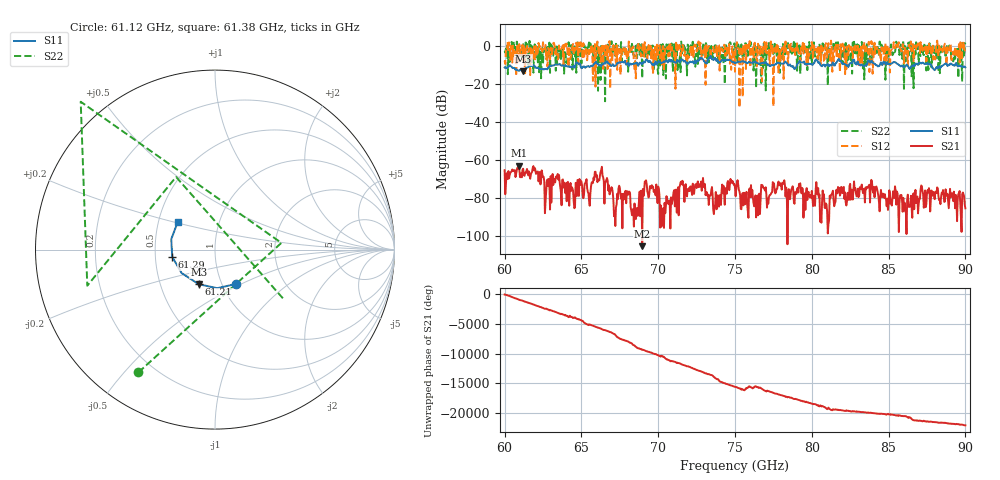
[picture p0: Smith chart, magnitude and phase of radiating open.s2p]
!Created with skrf (http://scikit-rf.org).
# GHz S RI R 50.0
!freq ReS11 ImS11 ReS21 ImS21 ReS12 ImS12 ReS22 ImS22
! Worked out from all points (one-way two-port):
!   721 points, 60 GHz to 90 GHz, reference 50 ohm
!   highest |S21| = -63.04 dB at 60.92 GHz (marker M1); lowest = -105.5 dB at 68.96 GHz (marker M2)
!   lowest |S11| = -13.4 dB at 61.21 GHz (marker M3), VSWR 1.54, Z = 38.9 - j15.7 ohm
!   |S11| at or under -10 dB: start of sweep to 63.27 GHz; 63.65 GHz to 64.61 GHz (962.8 MHz wide, 1.5 % of centre); 64.92 GHz to 65.77 GHz (851.2 MHz wide, 1.3 % of centre) (the widest 3 of 33)
!   |S22| runs from -29.2 to 2.9 dB; largest |S21 - S12| = 1.4
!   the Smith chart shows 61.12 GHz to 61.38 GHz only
!   S11 on the Smith chart (normalised r, x): 61.12 GHz: 1.16, -0.47; 61.21 GHz: 0.78, -0.31; 61.29 GHz: 0.61, -0.05; 61.38 GHz: 0.63, +0.21
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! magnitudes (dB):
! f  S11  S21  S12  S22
! 60 GHz  -11.4  -65.5  -7.8  -2.8
! 60.92 GHz  -13.1  -63.0  -0.4  -2.4
! 61.12 GHz  -13.0  -69.2  0.1  -1.9
! 61.21 GHz  -13.4  -64.7  -8.0  0.9
! 61.29 GHz  -12.3  -68.5  -6.9  -6.8
! 61.38 GHz  -11.7  -67.1  -0.4  1.8
! 62.71 GHz  -12.1  -76.9  -7.0  -3.5
! 65 GHz  -11.8  -71.4  -0.7  -9.3
! 65.5 GHz  -10.9  -81.6  -5.3  1.8
! 66.29 GHz  -10.6  -65.4  -5.4  0.7
! 67.17 GHz  -10.5  -87.0  -1.3  1.2
! 68.96 GHz  -9.4  -105.5  -2.3  -17.0
! 70 GHz  -8.5  -74.1  -2.1  -14.8
! 75 GHz  -9.2  -74.7  -13.6  0.2
! 80 GHz  -9.8  -76.4  2.0  -9.6
! 85 GHz  -9.7  -83.1  -0.9  -9.0
! 86.33 GHz  -11.7  -84.8  0.6  -4.8
! 86.62 GHz  -10.2  -77.7  -8.0  -22.3
! 86.79 GHz  -9.3  -82.7  -2.5  1.9
! 88.92 GHz  -10.2  -85.5  -0.8  -1.9
! 89.67 GHz  -10.7  -82.9  1.9  -8.4
! 90 GHz  -11.3  -85.6  -4.0  0.8
